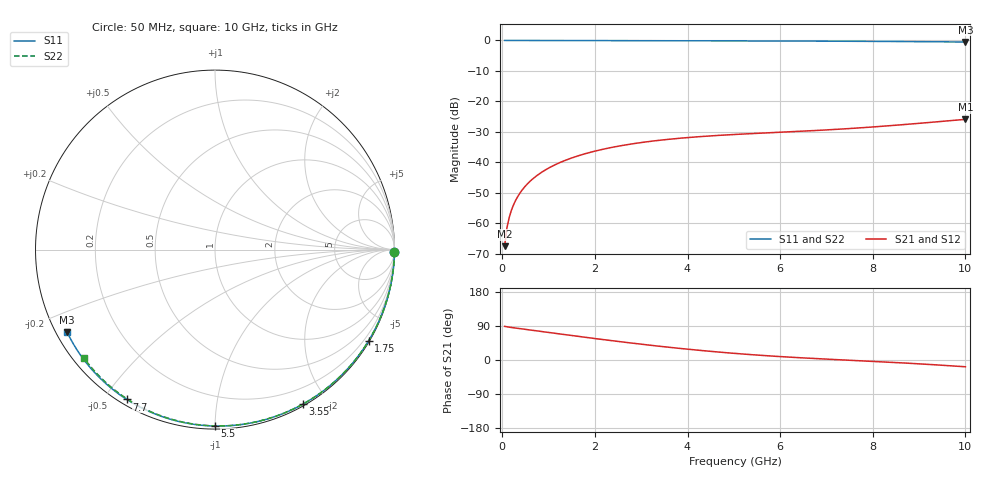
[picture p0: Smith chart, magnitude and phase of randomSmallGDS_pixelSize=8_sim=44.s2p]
! freq	dB(S11)	phase(S11)	dB(S12)	phase(S12)
!  dB(S21)	phase(S21)	dB(S22)	phase(S22)
!S-par simulation data
#  GHz  S  DB  R 50
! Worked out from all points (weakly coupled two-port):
!   200 points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, 50 MHz to 10 GHz, reference 50 ohm
!   highest |S21| = -25.89 dB at 10 GHz (marker M1); lowest = -67.5 dB at 50 MHz (marker M2)
!   lowest |S11| = -0.5 dB at 10 GHz (marker M3), VSWR 34.58, Z = 1.54 - j13 ohm
!   |S11| at or under -10 dB: nowhere
!   |S22| runs from -0.5 to 0.0 dB; largest |S21 - S12| = 0
!   S11 on the Smith chart (normalised r, x): 50 MHz: open; 1.75 GHz: 0.03, -3.65; 3.55 GHz: 0.02, -1.72; 5.5 GHz: 0.02, -1.00; 7.7 GHz: 0.02, -0.57; 10 GHz: 0.03, -0.26
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0.05  -0.00 -0.9  -67.52 88.7  -67.52 88.7  -0.00 -0.8
0.1  -0.00 -1.8  -61.53 87.6  -61.53 87.6  -0.00 -1.7
0.15  -0.00 -2.7  -58.06 86.6  -58.06 86.6  -0.00 -2.5
0.2  -0.00 -3.6  -55.60 85.7  -55.60 85.7  -0.00 -3.3
0.25  -0.00 -4.5  -53.69 84.9  -53.69 84.9  -0.00 -4.1
0.35  -0.00 -6.2  -50.82 83.3  -50.82 83.3  -0.00 -5.8
0.5  -0.01 -8.9  -47.77 80.9  -47.77 80.9  -0.01 -8.3
0.7  -0.01 -12.4  -44.90 77.6  -44.90 77.6  -0.01 -11.6
1  -0.02 -17.7  -41.89 72.7  -41.89 72.7  -0.02 -16.5
1.35  -0.03 -23.8  -39.41 67.0  -39.41 67.0  -0.03 -22.1
1.75  -0.04 -30.7  -37.35 60.6  -37.35 60.6  -0.04 -28.5
2.5  -0.06 -43.3  -34.71 49.0  -34.71 49.0  -0.05 -40.4
3.4  -0.08 -58.0  -32.75 36.2  -32.75 36.2  -0.07 -54.1
3.55  -0.08 -60.4  -32.51 34.2  -32.51 34.2  -0.08 -56.4
4.3  -0.10 -72.2  -31.53 25.0  -31.53 25.0  -0.10 -67.4
5.05  -0.13 -83.5  -30.83 17.1  -30.83 17.1  -0.12 -78.0
5.5  -0.15 -90.0  -30.48 13.0  -30.48 13.0  -0.14 -84.1
6.7  -0.21 -107.0  -29.61 4.2  -29.61 4.2  -0.19 -100.0
7.7  -0.28 -120.5  -28.71 -1.8  -28.71 -1.8  -0.26 -112.6
8.35  -0.33 -129.1  -28.00 -5.7  -28.00 -5.7  -0.31 -120.6
9.2  -0.41 -140.3  -26.95 -11.6  -26.95 -11.6  -0.38 -130.9
10  -0.50 -150.9  -25.89 -17.9  -25.89 -17.9  -0.47 -140.5
